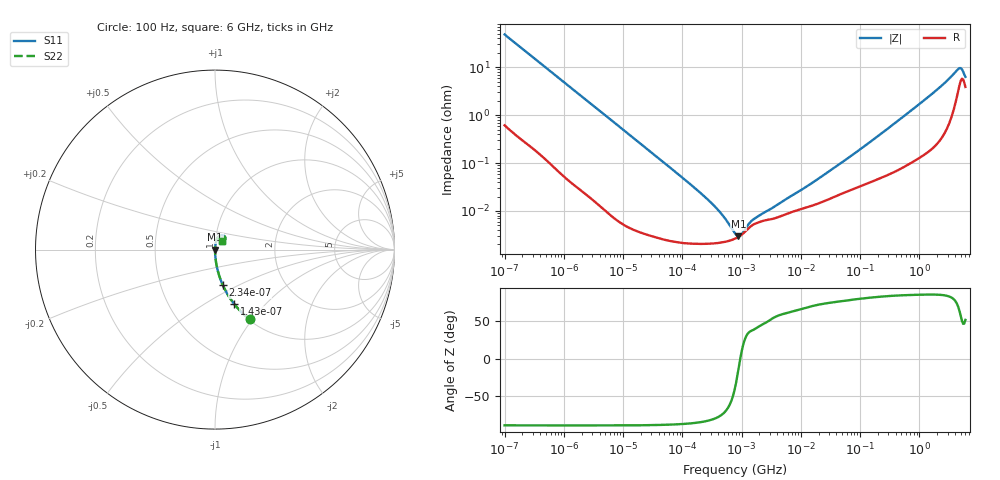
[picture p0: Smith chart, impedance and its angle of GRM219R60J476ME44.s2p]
!Murata Part Number: GRM219R60J476ME44
!These Parameters are Measured in Series Mode Connection
!Data Generated on Mar 30, 2021
!  o--ll--o
!Port1  Port2
!  o------o
!Operation Temp=25[degC], DC Bias Voltage=0[V]
!Freq. Start=100[Hz] Stop=6[GHz] 401[Steps]
# Hz S RI R 50
!Freq.(Hz) S11(Real) S11(Imag) S21(Real) S21(Imag) S12(Real) S12(Imag) S22(Real) S22(Imag)
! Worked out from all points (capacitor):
!   401 points, 100 Hz to 6 GHz, reference 50 ohm
!   read as one part in series: C = 32.8 uF near 109 Hz
!   lowest |Z| = 2.98 mohm at 886 kHz (marker M1)
!   series resonance near 950.5 kHz, so ESL is about 850 pH
!   S11 on the Smith chart (normalised r, x): 100 Hz: 1.01, -0.97; 143 Hz: 1.01, -0.68; 234 Hz: 1.01, -0.42; 6 GHz: 1.08, +0.10
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100  0.1926 -0.3881  0.8074 0.3881  0.8074 0.3881  0.1926 -0.3881
143  0.106 -0.3017  0.894 0.3017  0.894 0.3017  0.106 -0.3017
234  0.0436 -0.1983  0.9564 0.1983  0.9564 0.1983  0.0436 -0.1983
573  0.00823 -0.0847  0.9918 0.0847  0.9918 0.0847  0.00823 -0.0847
2008  0.000864 -0.0246  0.9991 0.0246  0.9991 0.0246  0.000864 -0.0246
40335  2.85e-05 -0.00124  1 0.00124  1 0.00124  2.85e-05 -0.00124
176758  2.07e-05 -0.000275  1 0.000275  1 0.000275  2.07e-05 -0.000275
395726  2.15e-05 -0.000105  1 0.000105  1 0.000105  2.15e-05 -0.000105
452617  2.19e-05 -8.58e-05  1 8.58e-05  1 8.58e-05  2.19e-05 -8.58e-05
774597  2.65e-05 -2.16e-05  1 2.16e-05  1 2.16e-05  2.65e-05 -2.16e-05
885955  2.89e-05 -7.3e-06  1 7.3e-06  1 7.3e-06  2.89e-05 -7.3e-06
2481164  6.38e-05 6.97e-05  0.9999 -6.97e-05  0.9999 -6.97e-05  6.38e-05 6.97e-05
2837864  6.59e-05 7.96e-05  0.9999 -7.96e-05  0.9999 -7.96e-05  6.59e-05 7.96e-05
1.555665e7  0.000129 0.000364  0.9999 -0.000364  0.9999 -0.000364  0.000129 0.000364
7.455971e7  0.000285 0.00146  0.9997 -0.00146  0.9997 -0.00146  0.000285 0.00146
3.124326e8  0.000613 0.00552  0.9994 -0.00552  0.9994 -0.00552  0.000613 0.00552
1.791126e9  0.0031 0.0302  0.9969 -0.0302  0.9969 -0.0302  0.0031 0.0302
2.802721e9  0.00706 0.0487  0.9929 -0.0487  0.9929 -0.0487  0.00706 0.0487
4.385646e9  0.0323 0.0791  0.9677 -0.0791  0.9677 -0.0791  0.0323 0.0791
4.796499e9  0.0479 0.0783  0.9521 -0.0783  0.9521 -0.0783  0.0479 0.0783
5.016141e9  0.0553 0.0724  0.9447 -0.0724  0.9447 -0.0724  0.0553 0.0724
6e9  0.0395 0.0459  0.9605 -0.0459  0.9605 -0.0459  0.0395 0.0459
